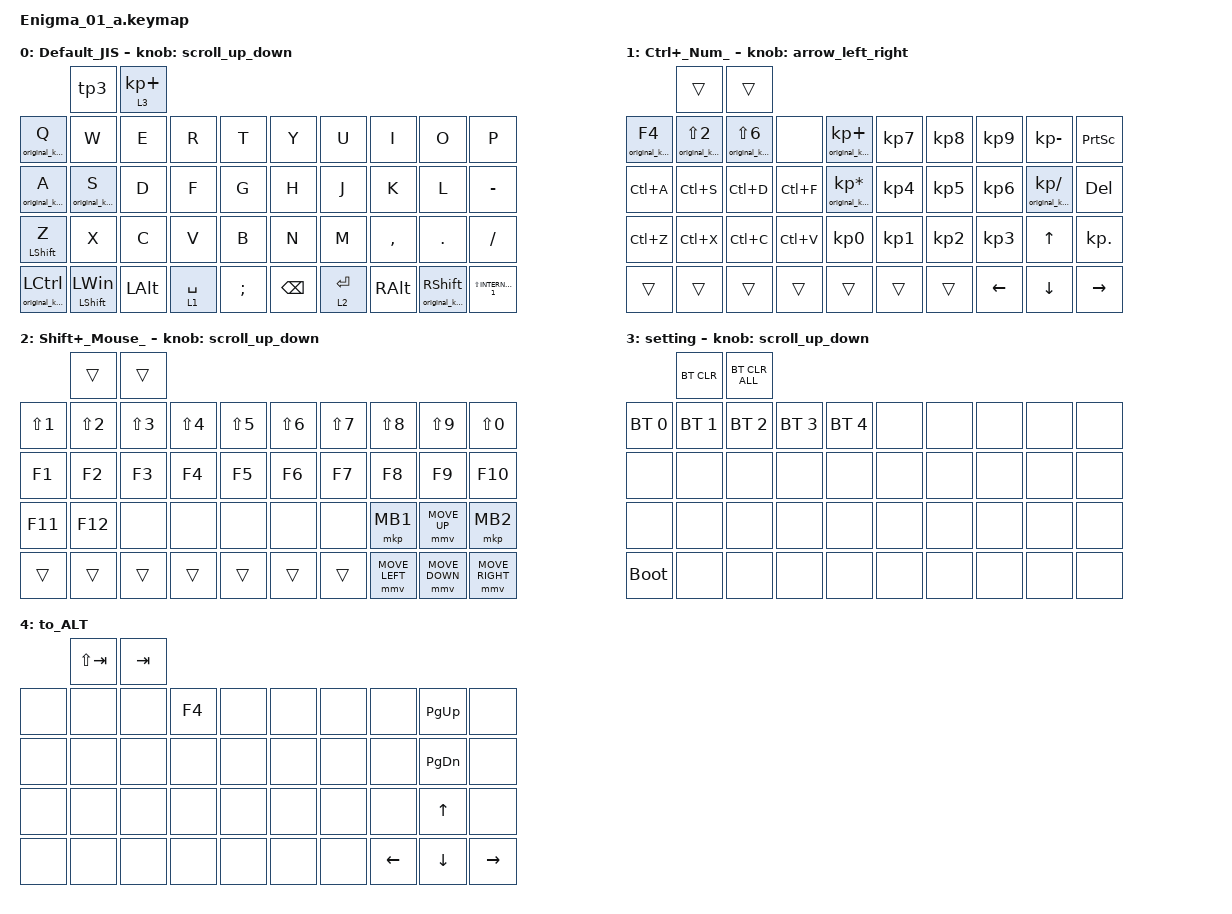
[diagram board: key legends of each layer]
#include <behaviors.dtsi>
#include <dt-bindings/zmk/bt.h>
#include <dt-bindings/zmk/keys.h>
#include <dt-bindings/zmk/pointing.h>

#define ZMK_POINTING_DEFAULT_SCRL_VAL 100

/ {
    // zmk-listeners

    layer_listeners {
        compatible = "zmk,layer-listeners";

        release_alt {
            layers = <4>;
            bindings = <&kt_on LEFT_ALT &kt_off LEFT_ALT>;
        };
    };

    macros {
        // zmk-listeners

        to_kp: to_kp {
            compatible = "zmk,behavior-macro-two-param";
            #binding-cells = <2>;
            bindings = <&macro_param_1to1 &to MACRO_PLACEHOLDER &macro_param_2to1 &kp MACRO_PLACEHOLDER>;
            label = "to_kp";
        };

        // zmk-listeners

        mo_to_0: mo_to_0 {
            compatible = "zmk,behavior-macro-one-param";
            wait-ms = <0>;
            tap-ms = <0>;
            #binding-cells = <1>;
            bindings =
                <&macro_press>,
                <&macro_param_1to1 &mo MACRO_PLACEHOLDER>,
                <&macro_tap>,
                <&macro_pause_for_release>,
                <&macro_release>,
                <&macro_param_1to1 &mo MACRO_PLACEHOLDER>,
                <&macro_tap>,
                <&to 0>;

            label = "MO_to_0";
        };
    };

    behaviors {
        // Layout shift

        original_key_press: original_key_press {
            compatible = "zmk,behavior-key-press";
            #binding-cells = <1>;
            label = "KEY_PRESS";
        };

        // Layout shift

        kp: key_press {
            compatible = "zmk,behavior-layout-shift-key-press";
            #binding-cells = <1>;
            label = "LAYOUT_SHIFT_KEY_PRESS";
        };

        // zmk-listeners

        kt_on: key_toggle_on_only {
            compatible = "zmk,behavior-key-toggle";
            #binding-cells = <1>;
            display-name = "Key Toggle On";
            toggle-mode = "on";
        };

        // zmk-listeners

        kt_off: key_toggle_off_only {
            compatible = "zmk,behavior-key-toggle";
            #binding-cells = <1>;
            display-name = "Key Toggle Off";
            toggle-mode = "off";
        };

        // zmk-listeners

        lt_to_0: lt_to_0 {
            compatible = "zmk,behavior-hold-tap";
            label = "LT_to_0";
            bindings = <&mo_to_0>, <&kp>;

            #binding-cells = <2>;
            tapping-term-ms = <200>;
            quick-tap-ms = <200>;
            flavor = "balanced";
        };

        scroll_up_down: behavior_sensor_rotate_mouse_wheel_up_down {
            compatible = "zmk,behavior-sensor-rotate";
            #sensor-binding-cells = <0>;
            bindings = <&msc SCRL_UP>, <&msc SCRL_DOWN>;

            tap-ms = <20>;
        };

        scroll_left_right: behavior_sensor_rotate_mouse_wheel_left_right {
            compatible = "zmk,behavior-sensor-rotate";
            #sensor-binding-cells = <0>;
            bindings = <&msc SCRL_LEFT>, <&msc SCRL_RIGHT>;

            tap-ms = <20>;
        };

        arrow_left_right: behavior_sensor_rotate_arrow_le {
            compatible = "zmk,behavior-sensor-rotate";
            #sensor-binding-cells = <0>;
            bindings = <&kp LEFT>, <&kp RIGHT>;

            tap-ms = <20>;
        };

        arrow_up_down: behavior_sensor_rotate_arrow_up {
            compatible = "zmk,behavior-sensor-rotate";
            #sensor-binding-cells = <0>;
            bindings = <&kp UP>, <&kp DOWN>;

            tap-ms = <20>;
        };

        page_up_down: behavior_sensor_rotate_page_up_ {
            compatible = "zmk,behavior-sensor-rotate";
            #sensor-binding-cells = <0>;
            bindings = <&kp PAGE_UP>, <&kp PAGE_DOWN>;

            tap-ms = <20>;
        };

        tp1: tab_ctrl_q {
            compatible = "zmk,behavior-tap-dance";
            label = "tab_ctrl_q";
            #binding-cells = <0>;
            bindings = <&mt LCTRL TAB>, <&kp Q>;
        };

        tp2: shift_ctrl {
            compatible = "zmk,behavior-tap-dance";
            label = "shift_ctrl";
            #binding-cells = <0>;
            bindings = <&kp LSHIFT>, <&kp LCTRL>;
        };

        tp4: f7_toALT_f8 {
            compatible = "zmk,behavior-tap-dance";
            label = "f7_toALT_f8";
            #binding-cells = <0>;
            bindings = <&lt_to_0 4 F7>, <&kp F8>;
        };

        tp3: hz_toALT {
            compatible = "zmk,behavior-tap-dance";
            label = "hz_toALT";
            #binding-cells = <0>;
            bindings = <&lt_to_0 4 GRAVE>;
        };
    };

    combos {
        compatible = "zmk,combos";

        mo_setting {
            bindings = <&mo 3>;
            key-positions = <36 35>;
        };

        esc {
            bindings = <&original_key_press ESC>;
            key-positions = <2 3>;
        };

        tab {
            bindings = <&original_key_press TAB>;
            key-positions = <12 13>;
        };

        del {
            bindings = <&original_key_press DELETE>;
            key-positions = <10 11>;
        };
    };

    keymap {
        compatible = "zmk,keymap";

        Default_JIS {
            bindings = <
                           &tp3                     &lt 3 KP_PLUS
&original_key_press Q      &kp W                    &kp E          &kp R        &kp T          &kp Y          &kp U        &kp I      &kp O                            &kp P
&original_key_press A      &original_key_press S    &kp D          &kp F        &kp G          &kp H          &kp J        &kp K      &kp L                            &kp MINUS
&mt LEFT_SHIFT Z           &kp X                    &kp C          &kp V        &kp B          &kp N          &kp M        &kp COMMA  &kp DOT                          &kp SLASH
&original_key_press LCTRL  &mt LEFT_SHIFT LEFT_WIN  &kp LEFT_ALT   &lt 1 SPACE  &kp SEMICOLON  &kp BACKSPACE  &lt 2 ENTER  &kp RALT   &original_key_press RIGHT_SHIFT  &kp LS(INTERNATIONAL_1)
            >;

            sensor-bindings = <&scroll_up_down>;
        };

        Ctrl+_Num_ {
            bindings = <
                        &trans                      &trans
&original_key_press F4  &original_key_press LS(N2)  &original_key_press LS(NUMBER_6)  &none      &original_key_press KP_PLUS      &kp KP_NUMBER_7  &kp KP_NUMBER_8  &kp KP_NUMBER_9  &kp KP_MINUS                  &kp PRINTSCREEN
&kp LC(A)               &kp LC(S)                   &kp LC(D)                         &kp LC(F)  &original_key_press KP_MULTIPLY  &kp KP_NUMBER_4  &kp KP_NUMBER_5  &kp KP_NUMBER_6  &original_key_press KP_SLASH  &kp DELETE
&kp LC(Z)               &kp LC(X)                   &kp LC(C)                         &kp LC(V)  &kp KP_NUMBER_0                  &kp KP_NUMBER_1  &kp KP_NUMBER_2  &kp KP_NUMBER_3  &kp UP_ARROW                  &kp KP_DOT
&trans                  &trans                      &trans                            &trans     &trans                           &trans           &trans           &kp LEFT         &kp DOWN_ARROW                &kp RIGHT_ARROW
            >;

            sensor-bindings = <&arrow_left_right>;
        };

        Shift+_Mouse_ {
            bindings = <
                  &trans            &trans
&kp LS(NUMBER_1)  &kp LS(NUMBER_2)  &kp LS(NUMBER_3)  &kp LS(NUMBER_4)  &kp LS(NUMBER_5)  &kp LS(NUMBER_6)  &kp LS(NUMBER_7)  &kp LS(NUMBER_8)  &kp LS(NUMBER_9)  &kp LS(NUMBER_0)
&kp F1            &kp F2            &kp F3            &kp F4            &kp F5            &kp F6            &kp F7            &kp F8            &kp F9            &kp F10
&kp F11           &kp F12           &none             &none             &none             &none             &none             &mkp MB1          &mmv MOVE_UP      &mkp MB2
&trans            &trans            &trans            &trans            &trans            &trans            &trans            &mmv MOVE_LEFT    &mmv MOVE_DOWN    &mmv MOVE_RIGHT
            >;

            sensor-bindings = <&scroll_up_down>;
        };

        setting {
            bindings = <
              &bt BT_CLR    &bt BT_CLR_ALL
&bt BT_SEL 0  &bt BT_SEL 1  &bt BT_SEL 2    &bt BT_SEL 3  &bt BT_SEL 4  &none  &none  &none  &none  &none
&none         &none         &none           &none         &none         &none  &none  &none  &none  &none
&none         &none         &none           &none         &none         &none  &none  &none  &none  &none
&bootloader   &none         &none           &none         &none         &none  &none  &none  &none  &none
            >;

            sensor-bindings = <&scroll_up_down>;
        };

        to_ALT {
            bindings = <
       &kp LS(TAB)  &kp TAB
&none  &none        &none    &kp F4  &none  &none  &none  &none     &kp PAGE_UP    &none
&none  &none        &none    &none   &none  &none  &none  &none     &kp PAGE_DOWN  &none
&none  &none        &none    &none   &none  &none  &none  &none     &kp UP         &none
&none  &none        &none    &none   &none  &none  &none  &kp LEFT  &kp DOWN       &kp RIGHT
            >;
        };
    };
};
